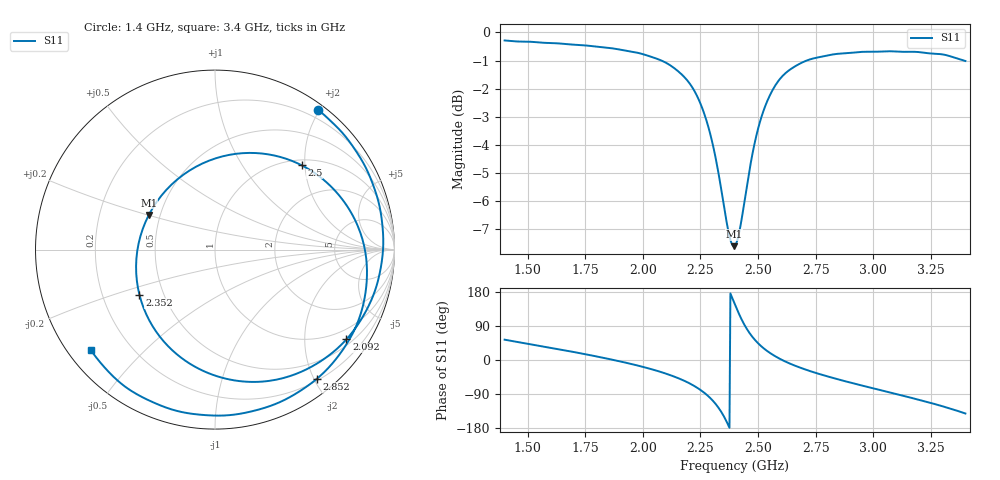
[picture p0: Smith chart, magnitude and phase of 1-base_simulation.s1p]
#  Hz  S  RI  R  50
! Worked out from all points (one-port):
!   501 points, 1.4 GHz to 3.4 GHz, reference 50 ohm
!   lowest |S11| = -7.6 dB at 2.396 GHz (marker M1), VSWR 2.43, Z = 21.6 + j10.1 ohm
!   |S11| at or under -10 dB: nowhere
!   S11 on the Smith chart (normalised r, x): 1.4 GHz: 0.08, +1.98; 2.092 GHz: 0.66, -3.11; 2.352 GHz: 0.36, -0.24; 2.5 GHz: 1.12, +1.92; 2.852 GHz: 0.23, -2.04; 3.4 GHz: 0.07, -0.35
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1.4e9  0.5741 0.7791
1.652e9  0.8545 0.426
1.776e9  0.9245 0.1994
1.9e9  0.9305 -0.0579
2e9  0.8696 -0.2846
2.092e9  0.7325 -0.4997
2.152e9  0.5762 -0.6299
2.22e9  0.3038 -0.7311
2.272e9  0.0107 -0.7053
2.312e9  -0.239 -0.5599
2.352e9  -0.4208 -0.2524
2.376e9  -0.4333 -0.00849
2.396e9  -0.3685 0.1935
2.4e9  -0.3476 0.2309
2.424e9  -0.1764 0.4172
2.448e9  0.0423 0.5196
2.472e9  0.2637 0.5351
2.5e9  0.4822 0.4701
2.532e9  0.6587 0.3388
2.568e9  0.7778 0.1699
2.652e9  0.8438 -0.1943
2.744e9  0.7557 -0.4883
2.852e9  0.5666 -0.7206
2.9e9  0.4673 -0.7921
3.032e9  0.1671 -0.9095
3.152e9  -0.125 -0.9152
3.284e9  -0.4458 -0.7997
3.4e9  -0.6934 -0.5572
